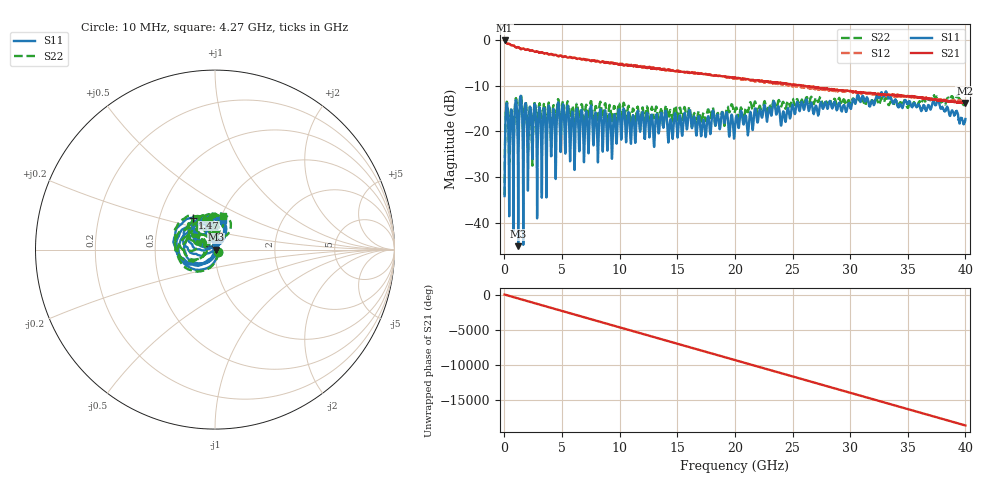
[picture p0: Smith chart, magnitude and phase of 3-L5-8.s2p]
! 2/21/2025 7:27:39 AM
! Z:\OQC\AD5\613\LOT-141-0825\SINGLE\3-L5-8.S2P
! CHANNEL.1
! TR.MEASUREMENT
! CORRECTED.DATA
! RF.CORRECTION: FULL.FOUR.PORT.CAL.PORT.1.2.3.4
! AVERAGING.OFF
! IF.BANDWIDTH: 1KHZ
! SWEEPTYPE:  FREQ.SWEEP(Linear)
! Reference Plane Port Info
! PORT:  PORT1  PORT2
! DISTANCE:  0  m  0  m
! TIME:  0  s  0  s
! PHASE.OFFSET:  0 °  0 °
! LOSS:  0  dB  0  dB
! REF.LOSS:  0  dB  0  dB
! REF.FREQ:  0  Hz  0  Hz
! Power Info
! POWER:  -10  dBm  -10  dBm
! EFF.POWER:  -10  dBm  -10  dBm
! SOURCE.ATTEN:  0  dB  0  dB
! TEST.ATTEN:  0  dB  0  dB
# GHZ S RI R 50.0
! FREQ.GHZ  S11RE  S11IM  S21RE  S21IM  S12RE  S12IM  S22RE  S22IM
!; PortSelection: Port_12
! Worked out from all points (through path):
!   4000 points, 10 MHz to 40 GHz, reference 50 ohm
!   highest |S21| = -0.14 dB at 10 MHz (marker M1); lowest = -13.8 dB at 39.94 GHz (marker M2)
!   group delay of S21, straight-line fit = 1.29 ns
!   lowest |S11| = -45.1 dB at 1.19 GHz (marker M3), VSWR 1.01, Z = 50.6 - j0.0618 ohm
!   |S11| at or under -10 dB: start of sweep to end of sweep
!   |S22| runs from -34.0 to -11.9 dB; largest |S21 - S12| = 0.021
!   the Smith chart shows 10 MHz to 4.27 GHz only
!   S11 on the Smith chart (normalised r, x): 10 MHz: 1.03, -0.03; 1.47 GHz: 0.74, +0.27; 4.27 GHz: 1.04, +0.36
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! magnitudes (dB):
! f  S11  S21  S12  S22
! 10 MHz  -34.2  -0.1  -0.2  -34.0
! 150 MHz  -14.5  -0.6  -0.7  -14.3
! 230 MHz  -14.0  -0.9  -0.9  -13.7
! 590 MHz  -15.2  -1.2  -1.2  -15.0
! 1.19 GHz  -45.1  -1.6  -1.6  -21.0
! 1.47 GHz  -13.3  -2.0  -2.0  -12.7
! 2.25 GHz  -15.0  -2.4  -2.3  -14.8
! 2.74 GHz  -17.6  -2.6  -2.6  -16.0
! 4.27 GHz  -15.2  -3.4  -3.3  -14.4
! 4.7 GHz  -14.0  -3.6  -3.5  -13.3
! 5.89 GHz  -15.7  -4.0  -3.9  -14.4
! 6.68 GHz  -15.4  -4.3  -4.2  -14.0
! 13.34 GHz  -19.5  -6.4  -6.3  -17.8
! 20.01 GHz  -18.9  -8.3  -8.4  -15.5
! 23.38 GHz  -13.4  -9.4  -9.6  -13.1
! 24.15 GHz  -16.0  -9.5  -9.7  -13.7
! 26.67 GHz  -14.1  -10.2  -10.7  -12.7
! 33.34 GHz  -12.8  -12.0  -12.1  -14.2
! 34.35 GHz  -14.1  -12.2  -12.1  -13.8
! 37.58 GHz  -13.3  -13.3  -13.0  -12.4
! 39.94 GHz  -17.9  -13.8  -13.4  -14.0
! 40 GHz  -17.3  -13.8  -13.5  -13.5
